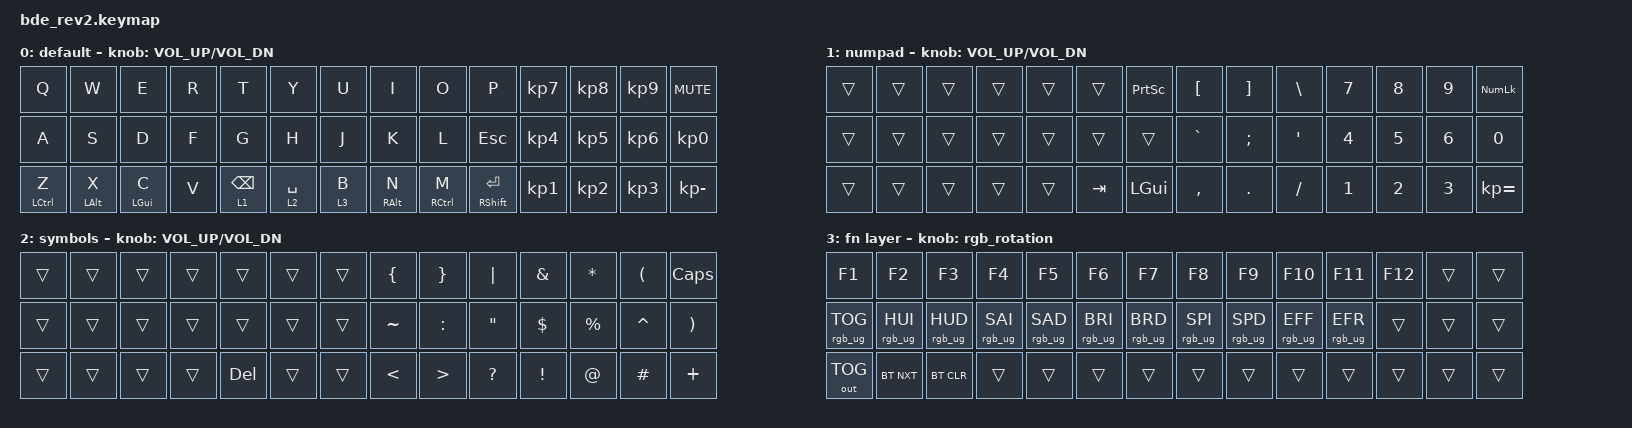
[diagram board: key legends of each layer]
/*
 * Copyright (c) 2022 The ZMK Contributors
 *
 * SPDX-License-Identifier: MIT
 */

#include <behaviors.dtsi>
#include <dt-bindings/zmk/bt.h>
#include <dt-bindings/zmk/keys.h>
#include <dt-bindings/zmk/outputs.h>
#include <dt-bindings/zmk/rgb.h>

#define TIMEOUT 50

// Delete this node if you didn't build with an encoder.
&encoder {
    status = "okay";
};

/ {
    combos {
        compatible = "zmk,combos";
        combo_reset {
            timeout-ms = <TIMEOUT>;
            key-positions = <0 12>;
            bindings = <&sys_reset>;
        };
        combo_bootloader {
            timeout-ms = <TIMEOUT>;
            key-positions = <0 13>;
            bindings = <&bootloader>;
        };
   };

    behaviors {
        rgb_rotation: encoder_rotation_0 {
            compatible = "zmk,behavior-sensor-rotate";
            #sensor-binding-cells = <0>;
            bindings = <&rgb_ug RGB_BRI>, <&rgb_ug RGB_BRD>;
        };
    };

    keymap {
        compatible = "zmk,keymap";

        default_layer {
            display-name = "default";
            bindings = <
    &kp Q        &kp W       &kp E       &kp R    &kp T         &kp Y         &kp U      &kp I       &kp O        &kp P            &kp KP_N7  &kp KP_N8  &kp KP_N9  &kp C_MUTE
    &kp A        &kp S       &kp D       &kp F    &kp G         &kp H         &kp J      &kp K       &kp L        &kp ESC          &kp KP_N4  &kp KP_N5  &kp KP_N6  &kp KP_N0
    &mt LCTRL Z  &mt LALT X  &mt LGUI C  &kp V    &lt 1 BSPC    &lt 2 SPACE   &lt 3 B    &mt RALT N  &mt RCTRL M  &mt RSHFT ENTER  &kp KP_N1  &kp KP_N2  &kp KP_N3  &kp KP_MINUS
            >;

            sensor-bindings = <&inc_dec_kp C_VOL_UP C_VOL_DN>;
        };
        numpad_layer {
            display-name = "numpad";
            bindings = <
    &trans  &trans  &trans  &trans  &trans  &trans   &kp PSCRN  &kp LBKT   &kp RBKT  &kp BSLH   &kp N7  &kp N8  &kp N9  &kp KP_NLCK
    &trans  &trans  &trans  &trans  &trans  &trans   &trans     &kp GRAVE  &kp SEMI  &kp SQT    &kp N4  &kp N5  &kp N6  &kp N0
    &trans  &trans  &trans  &trans  &trans  &kp TAB  &kp LGUI   &kp COMMA  &kp DOT   &kp SLASH  &kp N1  &kp N2  &kp N3  &kp KP_EQUAL
            >;

            sensor-bindings = <&inc_dec_kp C_VOL_UP C_VOL_DN>;
        };
        punctuation_layer {
            display-name = "symbols";
            bindings = <
    &trans  &trans  &trans  &trans  &trans   &trans  &trans  &kp LBRC   &kp RBRC   &kp PIPE   &kp AMPS  &kp STAR   &kp LPAR   &kp CLCK
    &trans  &trans  &trans  &trans  &trans   &trans  &trans  &kp TILDE  &kp COLON  &kp DQT    &kp DLLR  &kp PRCNT  &kp CARET  &kp RPAR
    &trans  &trans  &trans  &trans  &kp DEL  &trans  &trans  &kp LT     &kp GT     &kp QMARK  &kp EXCL  &kp AT     &kp HASH   &kp PLUS
            >;

            sensor-bindings = <&inc_dec_kp C_VOL_UP C_VOL_DN>;
        };
        fn3_layer {
            display-name = "fn layer";
            bindings = <
    &kp F1           &kp F2           &kp F3           &kp F4           &kp F5          &kp F6           &kp F7           &kp F8           &kp F9           &kp F10          &kp F11          &kp F12  &trans  &trans
    &rgb_ug RGB_TOG  &rgb_ug RGB_HUI  &rgb_ug RGB_HUD  &rgb_ug RGB_SAI  &rgb_ug RGB_SAD &rgb_ug RGB_BRI  &rgb_ug RGB_BRD  &rgb_ug RGB_SPI  &rgb_ug RGB_SPD  &rgb_ug RGB_EFF  &rgb_ug RGB_EFR  &trans   &trans  &trans
    &out OUT_TOG     &bt BT_NXT       &bt BT_CLR       &trans           &trans          &trans           &trans           &trans           &trans           &trans           &trans           &trans   &trans  &trans
            >;

            sensor-bindings = <&rgb_rotation>;
        };
    };
};
